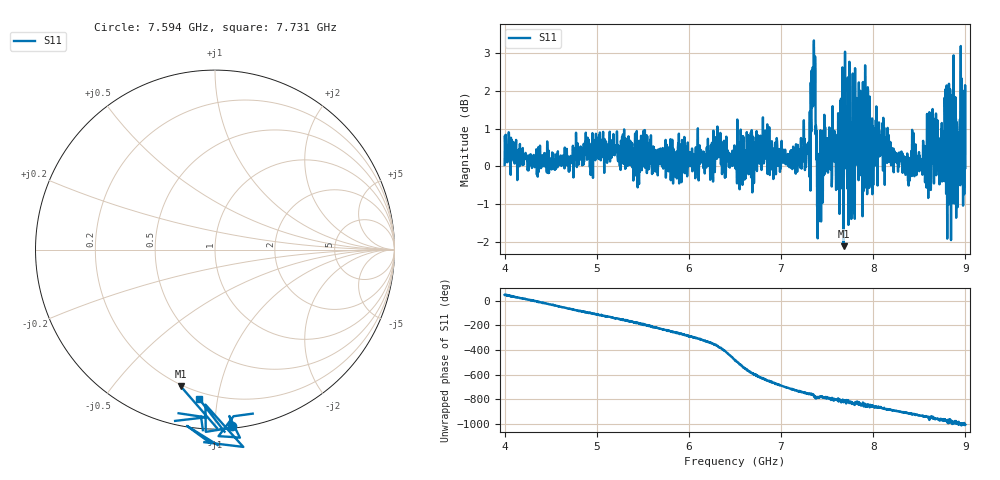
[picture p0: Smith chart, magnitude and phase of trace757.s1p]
! Created with skrf 1.8.0 (http://scikit-rf.org).
# Hz S RI R 50.0
!freq ReS11 ImS11
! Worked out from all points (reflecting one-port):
!   1601 points, 4 GHz to 9 GHz, reference 50 ohm
!   lowest |S11| = -2.1 dB at 7.678 GHz (marker M1), VSWR 8.28, Z = 9.62 - j38.1 ohm
!   phase of S11 starts at 48 deg and turns -1054 deg over the sweep
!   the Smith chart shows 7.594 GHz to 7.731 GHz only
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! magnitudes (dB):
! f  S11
! 4 GHz  0.0
! 4.625 GHz  0.0
! 5.25 GHz  0.0
! 5.875 GHz  0.1
! 6.331 GHz  0.5
! 6.5 GHz  0.1
! 6.819 GHz  0.7
! 7.125 GHz  0.3
! 7.294 GHz  0.4
! 7.347 GHz  2.3
! 7.366 GHz  1.7
! 7.409 GHz  -1.3
! 7.481 GHz  -0.1
! 7.609 GHz  0.3
! 7.678 GHz  -2.1
! 7.75 GHz  0.5
! 7.775 GHz  1.0
! 7.828 GHz  0.7
! 7.872 GHz  1.3
! 7.928 GHz  0.2
! 7.981 GHz  0.1
! 8.094 GHz  1.0
! 8.375 GHz  -0.2
! 8.725 GHz  0.7
! 8.8 GHz  -0.2
! 8.862 GHz  -1.0
! 8.972 GHz  0.6
! 9 GHz  0.0
